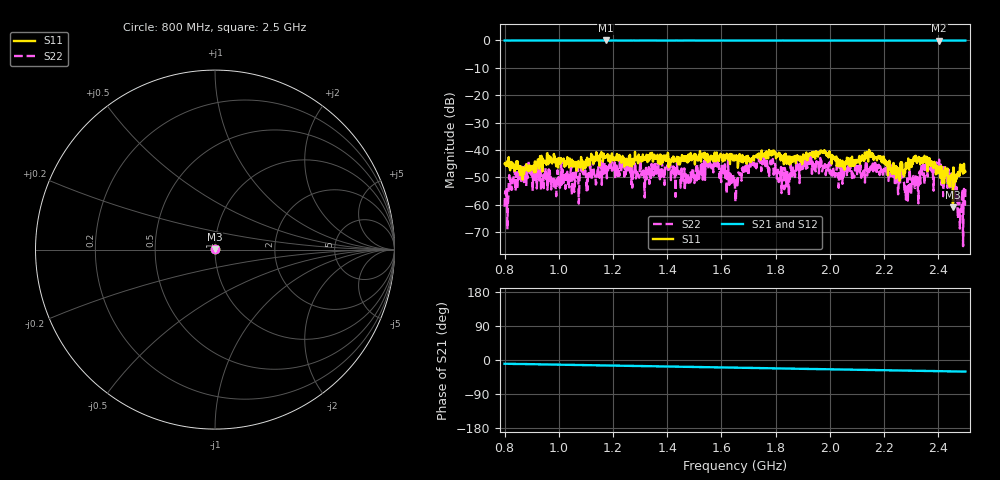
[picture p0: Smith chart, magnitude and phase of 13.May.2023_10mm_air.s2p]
!Keysight Technologies N9950B: A.12.38
!Date: Saturday, 13 May 2023 13:26:57
!Timezone: (UTC-06:00) Central Time (US & Canada)
!Model: N9950B
!Serial: MY61131330
!GPS Latitude:
!GPS Longitude:
!GPS TimeStamp: 0001-01-01 00:00:00Z
!GPS Seconds Since Last Read: 0
!CHECKSUM:1918061496
!Correction: S11(ON U)S21(ON U)S12(ON U)S22(ON U)
!S2P File: Measurements:S11,S21,S12,S22:
# Hz S DB R 50
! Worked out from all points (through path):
!   1001 points, 800 MHz to 2.5 GHz, reference 50 ohm
!   highest |S21| = -0.02 dB at 1.174 GHz (marker M1); lowest = -0.1 dB at 2.403 GHz (marker M2)
!   group delay of S21, straight-line fit = 33.8 ps
!   lowest |S11| = -61.0 dB at 2.454 GHz (marker M3), VSWR 1.00, Z = 49.9 + j0.0702 ohm
!   |S11| at or under -10 dB: start of sweep to end of sweep
!   |S22| runs from -75.1 to -41.7 dB; largest |S21 - S12| = 0.0055
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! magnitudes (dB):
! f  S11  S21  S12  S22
! 800 MHz  -45.0  0.0  0.0  -60.7
! 861.2 MHz  -46.5  0.0  0.0  -51.3
! 983.6 MHz  -42.9  0.0  0.0  -51.0
! 1.084 GHz  -43.7  0.0  0.0  -47.6
! 1.174 GHz  -42.7  0.0  0.0  -49.2
! 1.368 GHz  -42.4  -0.1  -0.1  -45.2
! 1.473 GHz  -42.5  -0.1  0.0  -51.7
! 1.582 GHz  -40.9  -0.1  -0.1  -46.9
! 1.65 GHz  -42.9  -0.1  -0.1  -53.2
! 1.74 GHz  -42.4  0.0  -0.1  -45.3
! 1.84 GHz  -45.1  -0.1  0.0  -53.3
! 1.934 GHz  -40.8  0.0  -0.1  -48.7
! 2.048 GHz  -44.7  -0.1  -0.1  -47.0
! 2.151 GHz  -42.6  -0.1  -0.1  -46.0
! 2.218 GHz  -45.4  -0.1  -0.1  -48.1
! 2.264 GHz  -46.7  -0.1  -0.1  -50.2
! 2.284 GHz  -45.3  -0.1  -0.1  -53.2
! 2.359 GHz  -42.6  -0.1  -0.1  -46.3
! 2.403 GHz  -47.2  -0.1  -0.1  -43.5
! 2.454 GHz  -61.0  -0.1  -0.1  -55.0
! 2.478 GHz  -49.4  -0.1  -0.1  -56.8
! 2.5 GHz  -47.9  -0.1  -0.1  -54.4
